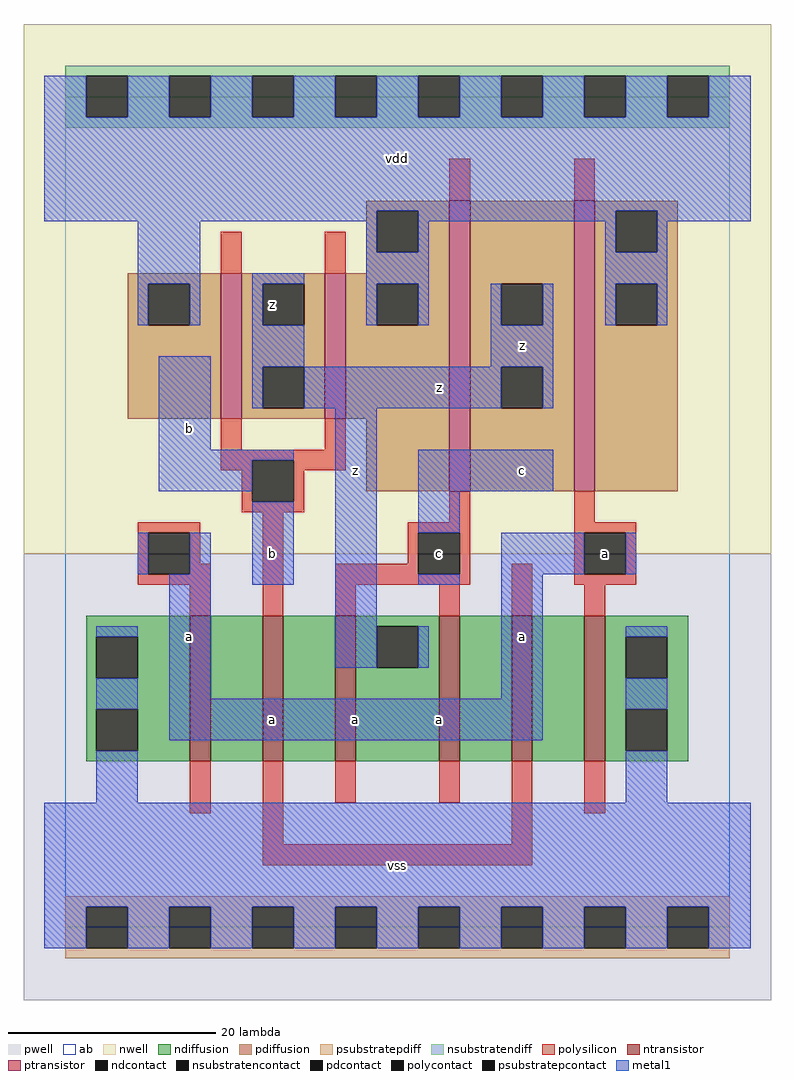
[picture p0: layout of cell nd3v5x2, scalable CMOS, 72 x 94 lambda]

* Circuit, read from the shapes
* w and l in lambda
.subckt nd3v5x2 a b c vdd vss z
M1 n1 a vss vss nfet w=14 l=2
M2 n2 b n1 vss nfet w=14 l=2
M3 z c n2 vss nfet w=14 l=2
M4 n3 c z vss nfet w=14 l=2
M5 n4 b n3 vss nfet w=14 l=2
M6 vss a n4 vss nfet w=14 l=2
M7 z b vdd vdd pfet w=14 l=2 m=2
M8 z c vdd vdd pfet w=28 l=2
M9 vdd a z vdd pfet w=28 l=2
.ends

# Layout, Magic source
magic
tech scmos
<< ab >>
rect 0 0 64 80
<< pwell >>
rect -4 -7 68 36
<< nwell >>
rect -4 36 68 87
<< polysilicon >>
rect 37 70 39 74
rect 49 70 51 74
rect 15 63 17 67
rect 25 63 27 67
rect 15 46 17 49
rect 25 46 27 49
rect 15 45 27 46
rect 15 44 18 45
rect 17 41 18 44
rect 22 44 27 45
rect 22 41 23 44
rect 17 40 23 41
rect 7 38 13 39
rect 7 34 8 38
rect 12 35 13 38
rect 12 34 14 35
rect 7 33 14 34
rect 12 30 14 33
rect 19 30 21 40
rect 37 39 39 42
rect 33 38 39 39
rect 33 35 34 38
rect 26 34 34 35
rect 38 34 39 38
rect 49 39 51 42
rect 49 38 55 39
rect 26 33 39 34
rect 26 30 28 33
rect 36 30 38 33
rect 43 30 45 35
rect 49 34 50 38
rect 54 34 55 38
rect 49 33 55 34
rect 50 30 52 33
rect 12 11 14 16
rect 19 8 21 16
rect 26 12 28 16
rect 36 12 38 16
rect 43 8 45 16
rect 50 11 52 16
rect 19 6 45 8
<< ndiffusion >>
rect 2 28 12 30
rect 2 24 3 28
rect 7 24 12 28
rect 2 21 12 24
rect 2 17 3 21
rect 7 17 12 21
rect 2 16 12 17
rect 14 16 19 30
rect 21 16 26 30
rect 28 29 36 30
rect 28 25 30 29
rect 34 25 36 29
rect 28 16 36 25
rect 38 16 43 30
rect 45 16 50 30
rect 52 28 60 30
rect 52 24 54 28
rect 58 24 60 28
rect 52 21 60 24
rect 52 17 54 21
rect 58 17 60 21
rect 52 16 60 17
<< pdiffusion >>
rect 29 69 37 70
rect 29 65 30 69
rect 34 65 37 69
rect 29 63 37 65
rect 6 62 15 63
rect 6 58 8 62
rect 12 58 15 62
rect 6 49 15 58
rect 17 62 25 63
rect 17 58 19 62
rect 23 58 25 62
rect 17 54 25 58
rect 17 50 19 54
rect 23 50 25 54
rect 17 49 25 50
rect 27 62 37 63
rect 27 58 30 62
rect 34 58 37 62
rect 27 49 37 58
rect 29 42 37 49
rect 39 62 49 70
rect 39 58 42 62
rect 46 58 49 62
rect 39 54 49 58
rect 39 50 42 54
rect 46 50 49 54
rect 39 42 49 50
rect 51 69 59 70
rect 51 65 53 69
rect 57 65 59 69
rect 51 62 59 65
rect 51 58 53 62
rect 57 58 59 62
rect 51 42 59 58
<< metal1 >>
rect -2 78 2 82
rect 6 78 10 82
rect 14 78 18 82
rect 22 78 26 82
rect 30 78 34 82
rect 38 78 42 82
rect 46 78 50 82
rect 54 78 58 82
rect 62 78 66 82
rect -2 69 66 78
rect -2 68 30 69
rect 7 62 13 68
rect 29 65 30 68
rect 34 68 53 69
rect 34 65 35 68
rect 7 58 8 62
rect 12 58 13 62
rect 18 62 23 63
rect 18 58 19 62
rect 29 62 35 65
rect 52 65 53 68
rect 57 68 66 69
rect 57 65 58 68
rect 52 62 58 65
rect 29 58 30 62
rect 34 58 35 62
rect 41 58 42 62
rect 46 58 47 62
rect 52 58 53 62
rect 57 58 58 62
rect 9 46 14 55
rect 18 54 23 58
rect 41 54 47 58
rect 18 50 19 54
rect 23 50 42 54
rect 46 50 47 54
rect 9 45 22 46
rect 9 42 18 45
rect 7 34 8 38
rect 12 34 14 38
rect 3 28 7 29
rect 3 21 7 24
rect 10 22 14 34
rect 18 33 22 41
rect 26 25 30 50
rect 34 42 47 46
rect 34 38 38 42
rect 34 33 38 34
rect 42 34 50 38
rect 54 34 55 38
rect 34 25 35 29
rect 42 22 46 34
rect 10 18 46 22
rect 54 28 58 29
rect 54 21 58 24
rect 3 12 7 17
rect 54 12 58 17
rect -2 2 66 12
rect -2 -2 2 2
rect 6 -2 10 2
rect 14 -2 18 2
rect 22 -2 26 2
rect 30 -2 34 2
rect 38 -2 42 2
rect 46 -2 50 2
rect 54 -2 58 2
rect 62 -2 66 2
<< ntransistor >>
rect 12 16 14 30
rect 19 16 21 30
rect 26 16 28 30
rect 36 16 38 30
rect 43 16 45 30
rect 50 16 52 30
<< ptransistor >>
rect 15 49 17 63
rect 25 49 27 63
rect 37 42 39 70
rect 49 42 51 70
<< polycontact >>
rect 18 41 22 45
rect 8 34 12 38
rect 34 34 38 38
rect 50 34 54 38
<< ndcontact >>
rect 3 24 7 28
rect 3 17 7 21
rect 30 25 34 29
rect 54 24 58 28
rect 54 17 58 21
<< pdcontact >>
rect 30 65 34 69
rect 8 58 12 62
rect 19 58 23 62
rect 19 50 23 54
rect 30 58 34 62
rect 42 58 46 62
rect 42 50 46 54
rect 53 65 57 69
rect 53 58 57 62
<< psubstratepcontact >>
rect 2 -2 6 2
rect 10 -2 14 2
rect 18 -2 22 2
rect 26 -2 30 2
rect 34 -2 38 2
rect 42 -2 46 2
rect 50 -2 54 2
rect 58 -2 62 2
<< nsubstratencontact >>
rect 2 78 6 82
rect 10 78 14 82
rect 18 78 22 82
rect 26 78 30 82
rect 34 78 38 82
rect 42 78 46 82
rect 50 78 54 82
rect 58 78 62 82
<< psubstratepdiff >>
rect 0 2 64 3
rect 0 -2 2 2
rect 6 -2 10 2
rect 14 -2 18 2
rect 22 -2 26 2
rect 30 -2 34 2
rect 38 -2 42 2
rect 46 -2 50 2
rect 54 -2 58 2
rect 62 -2 64 2
rect 0 -3 64 -2
<< nsubstratendiff >>
rect 0 82 64 83
rect 0 78 2 82
rect 6 78 10 82
rect 14 78 18 82
rect 22 78 26 82
rect 30 78 34 82
rect 38 78 42 82
rect 46 78 50 82
rect 54 78 58 82
rect 62 78 64 82
rect 0 77 64 78
<< labels >>
rlabel metal1 12 28 12 28 6 a
rlabel metal1 20 20 20 20 6 a
rlabel metal1 20 36 20 36 6 b
rlabel metal1 12 48 12 48 6 b
rlabel pdcontact 20 60 20 60 6 z
rlabel metal1 32 6 32 6 6 vss
rlabel metal1 28 20 28 20 6 a
rlabel metal1 36 20 36 20 6 a
rlabel metal1 28 44 28 44 6 z
rlabel polycontact 36 36 36 36 6 c
rlabel metal1 36 52 36 52 6 z
rlabel metal1 32 74 32 74 6 vdd
rlabel metal1 44 28 44 28 6 a
rlabel metal1 44 44 44 44 6 c
rlabel metal1 44 56 44 56 6 z
rlabel polycontact 52 36 52 36 6 a
<< end >>
